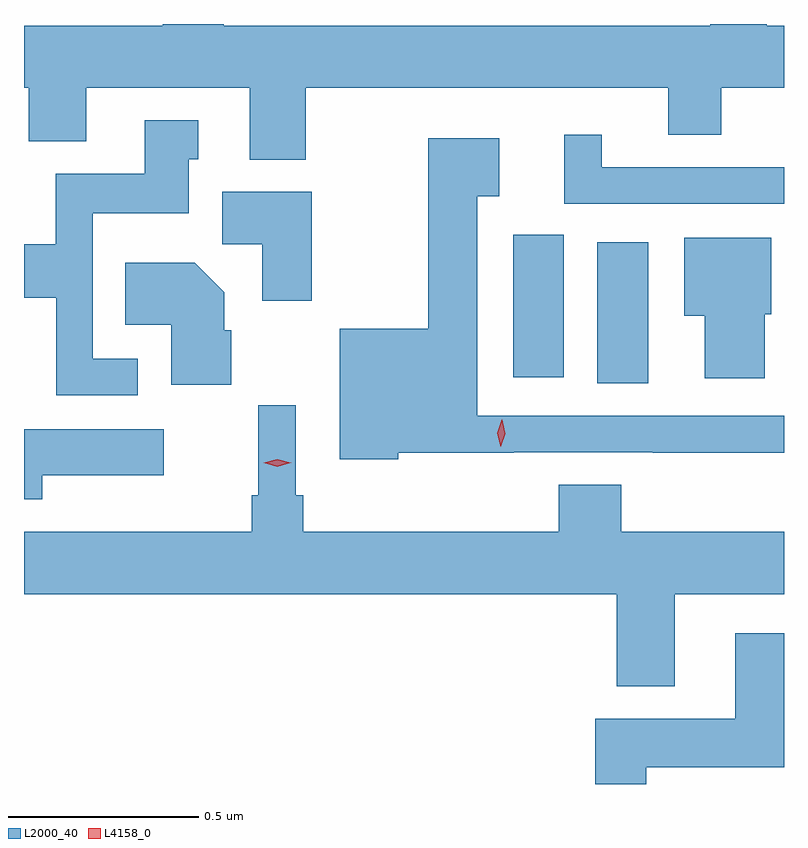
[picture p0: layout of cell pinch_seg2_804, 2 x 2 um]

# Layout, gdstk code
import gdstk
lib = gdstk.Library(unit=1e-6, precision=1e-09)
def R(c, l, rs):  # rectangles x0, y0, x1, y1
    for r in rs: c.add(gdstk.rectangle(r[:2], r[2:], *l))
def P(c, l, *ps):  # polygons
    for p in ps: c.add(gdstk.Polygon(p, *l))
L2000_40 = (2000, 40)
L4158_0 = (4158, 0)

pinch_seg2_804 = lib.new_cell('pinch_seg2_804')
R(pinch_seg2_804, L2000_40, [(659.75,642.862,659.884,643.234), (659.528,642.879,659.662,643.254)])
P(pinch_seg2_804, L2000_40, [(658.983,643.64),(659.936,643.64),(659.936,643.516),(660.076,643.516),(660.076,643.64),(660.241,643.64),(660.241,643.804),(660.195,643.804),(660.195,643.808),(660.047,643.808),(660.047,643.804),(658.766,643.804),(658.766,643.808),(658.606,643.808),(658.606,643.804),(658.241,643.804),(658.241,643.64),(658.253,643.64),(658.253,643.499),(658.405,643.499),(658.405,643.64),(658.835,643.64),(658.835,643.451),(658.983,643.451)],
  [(658.54,642.927),(658.422,642.927),(658.422,643.31),(658.675,643.31),(658.675,643.452),(658.699,643.452),(658.699,643.555),(658.559,643.555),(658.559,643.414),(658.324,643.414),(658.324,643.228),(658.241,643.228),(658.241,643.088),(658.326,643.088),(658.326,642.831),(658.54,642.831)],
  [(660.241,643.431),(659.761,643.431),(659.761,643.516),(659.663,643.516),(659.663,643.335),(660.241,643.335)],
  [(659.226,642.68),(659.53,642.68),(659.53,642.681),(659.896,642.681),(659.896,642.68),(660.241,642.68),(660.241,642.777),(659.434,642.777),(659.434,643.355),(659.491,643.355),(659.491,643.507),(659.305,643.507),(659.305,643.006),(659.072,643.006),(659.072,642.662),(659.226,642.662)],
  [(658.998,643.366),(658.763,643.366),(658.763,643.228),(658.868,643.228),(658.868,643.08),(658.998,643.08)],
  [(660.19,643.044),(660.208,643.044),(660.208,643.246),(659.978,643.246),(659.978,643.04),(660.032,643.04),(660.032,642.876),(660.19,642.876)],
  [(658.786,643.002),(658.768,643.002),(658.768,643.102),(658.69,643.18),(658.507,643.18),(658.507,643.016),(658.628,643.016),(658.628,642.859),(658.786,642.859)],
  [(659.953,642.308),(660.241,642.308),(660.241,642.472),(659.813,642.472),(659.813,642.596),(659.648,642.596),(659.648,642.472),(658.976,642.472),(658.976,642.568),(658.956,642.568),(658.956,642.805),(658.858,642.805),(658.858,642.568),(658.84,642.568),(658.84,642.472),(658.241,642.472),(658.241,642.308),(659.801,642.308),(659.801,642.065),(659.953,642.065)],
  [(658.289,642.62),(658.609,642.62),(658.609,642.742),(658.241,642.742),(658.241,642.558),(658.289,642.558)],
  [(659.878,641.852),(660.241,641.852),(660.241,642.205),(660.113,642.205),(660.113,641.98),(659.744,641.98),(659.744,641.808),(659.878,641.808)])
P(pinch_seg2_804, L4158_0, [(659.495,642.695),(659.495,642.696),(659.487,642.731),(659.498,642.766),(659.499,642.767),(659.499,642.766),(659.507,642.73),(659.495,642.696)],
  [(658.908,642.643),(658.872,642.653),(658.871,642.653),(658.872,642.654),(658.908,642.663),(658.943,642.654),(658.944,642.653),(658.943,642.653)])

lib.write_gds('pinch_seg2_804.gds')
